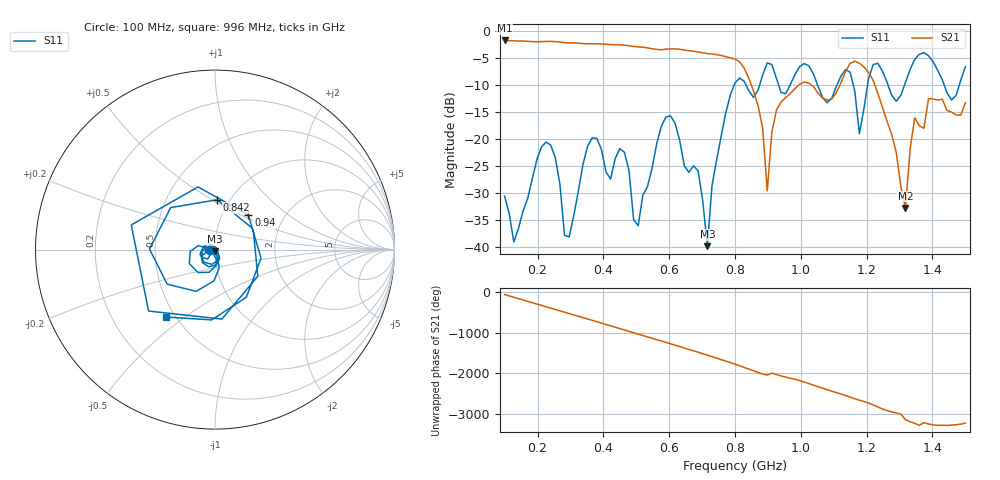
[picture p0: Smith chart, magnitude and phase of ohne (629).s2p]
! NanoVNA-App
! Date: 2025-09-25 14:25:42
! Start: 100MHz Stop: 1,5GHz Points: 101
! S-Parameter data: F S11 S21 S12 S22
# Hz S RI R 50
!  Frequency  S11_Real  S11_Imag  S21_Real  S21_Imag  S12_Real  S12_Imag  S22_Real  S22_Imag
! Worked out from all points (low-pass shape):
!   101 points, 100 MHz to 1.5 GHz, reference 50 ohm
!   highest |S21| = -1.79 dB at 100 MHz (marker M1); lowest = -32.8 dB at 1.318 GHz (marker M2)
!   |S21| within 3 dB of the highest: start of sweep to 771.5 MHz
!   lowest |S11| = -39.9 dB at 716 MHz (marker M3), VSWR 1.02, Z = 49.8 - j0.98 ohm
!   |S11| at or under -10 dB: start of sweep to 797.9 MHz; 833.1 MHz to 875.1 MHz (42.03 MHz wide, 4.92 % of centre); 1.051 GHz to 1.11 GHz (59.41 MHz wide, 5.5 % of centre) (the widest 3 of 7)
!   S12 and S22 are empty: the file has one direction only
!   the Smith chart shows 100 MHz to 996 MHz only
!   S11 on the Smith chart (normalised r, x): 100 MHz: 0.94, -0.01; 842 MHz: 0.88, +0.53; 940 MHz: 1.32, +0.55; 996 MHz: 0.45, -0.43
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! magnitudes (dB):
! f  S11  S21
! 100 MHz  -30.6  -1.8
! 128 MHz  -39.1  -1.9
! 226 MHz  -20.6  -2.0
! 296 MHz  -38.2  -2.2
! 338 MHz  -24.8  -2.4
! 464 MHz  -22.5  -2.7
! 506 MHz  -36.1  -3.0
! 576 MHz  -17.7  -3.5
! 688 MHz  -26.0  -3.9
! 716 MHz  -39.9  -4.2
! 800 MHz  -9.7  -5.2
! 842 MHz  -11.1  -8.8
! 898 MHz  -5.9  -29.6
! 940 MHz  -11.4  -13.2
! 996 MHz  -6.7  -9.9
! 1.038 GHz  -7.9  -10.3
! 1.178 GHz  -19.1  -6.0
! 1.22 GHz  -6.3  -9.2
! 1.276 GHz  -11.9  -19.2
! 1.318 GHz  -9.6  -32.8
! 1.346 GHz  -5.3  -16.1
! 1.5 GHz  -6.6  -13.3
